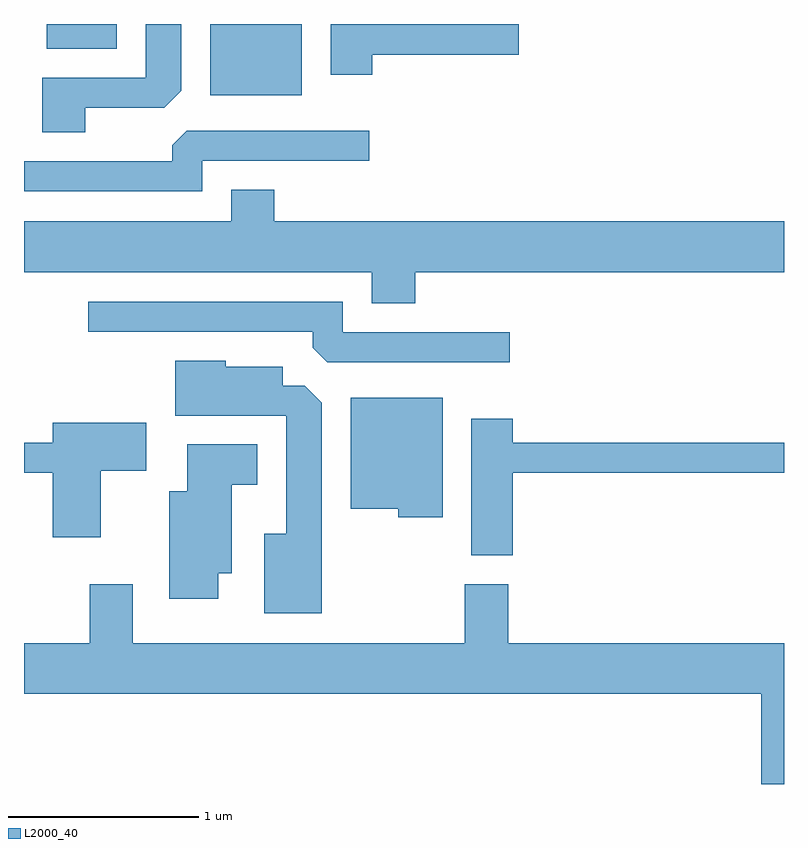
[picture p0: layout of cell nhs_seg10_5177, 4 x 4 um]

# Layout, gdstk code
import gdstk
lib = gdstk.Library(unit=1e-6, precision=1e-09)
def R(c, l, rs):  # rectangles x0, y0, x1, y1
    for r in rs: c.add(gdstk.rectangle(r[:2], r[2:], *l))
def P(c, l, *ps):  # polygons
    for p in ps: c.add(gdstk.Polygon(p, *l))
L2000_40 = (2000, 40)

nhs_seg10_5177 = lib.new_cell('nhs_seg10_5177')
R(nhs_seg10_5177, L2000_40, [(338.591,2148.146,339.074,2148.522), (337.731,2148.391,338.099,2148.522)])
P(nhs_seg10_5177, L2000_40, [(339.444,2148.361),(340.214,2148.361),(340.214,2148.522),(339.226,2148.522),(339.226,2148.256),(339.444,2148.256)],
  [(337.934,2148.081),(338.349,2148.081),(338.439,2148.172),(338.439,2148.522),(338.251,2148.522),(338.251,2148.239),(337.706,2148.239),(337.706,2147.951),(337.934,2147.951)],
  [(338.549,2147.801),(339.428,2147.801),(339.428,2147.959),(338.467,2147.959),(338.391,2147.884),(338.391,2147.799),(337.611,2147.799),(337.611,2147.641),(338.549,2147.641)],
  [(339.669,2147.216),(341.611,2147.216),(341.611,2147.484),(338.929,2147.484),(338.929,2147.649),(338.701,2147.649),(338.701,2147.484),(337.611,2147.484),(337.611,2147.216),(339.441,2147.216),(339.441,2147.051),(339.669,2147.051)],
  [(340.168,2146.899),(339.289,2146.899),(339.289,2147.059),(337.948,2147.059),(337.948,2146.901),(339.131,2146.901),(339.131,2146.817),(339.207,2146.741),(340.168,2146.741)],
  [(339.179,2146.529),(339.089,2146.619),(338.974,2146.619),(338.974,2146.719),(338.674,2146.719),(338.674,2146.749),(338.406,2146.749),(338.406,2146.461),(338.991,2146.461),(338.991,2145.839),(338.876,2145.839),(338.876,2145.421),(339.179,2145.421)],
  [(339.814,2146.554),(339.331,2146.554),(339.331,2145.971),(339.581,2145.971),(339.581,2145.926),(339.814,2145.926)],
  [(340.184,2146.161),(341.611,2146.161),(341.611,2146.319),(340.184,2146.319),(340.184,2146.444),(339.966,2146.444),(339.966,2145.726),(340.184,2145.726)],
  [(338.014,2146.171),(338.254,2146.171),(338.254,2146.424),(337.761,2146.424),(337.761,2146.319),(337.611,2146.319),(337.611,2146.161),(337.761,2146.161),(337.761,2145.821),(338.014,2145.821)],
  [(338.634,2145.631),(338.704,2145.631),(338.704,2146.096),(338.839,2146.096),(338.839,2146.309),(338.471,2146.309),(338.471,2146.064),(338.376,2146.064),(338.376,2145.496),(338.634,2145.496)],
  [(341.611,2145.264),(340.159,2145.264),(340.159,2145.574),(339.931,2145.574),(339.931,2145.264),(338.184,2145.264),(338.184,2145.574),(337.956,2145.574),(337.956,2145.264),(337.611,2145.264),(337.611,2144.996),(341.491,2144.996),(341.491,2144.522),(341.611,2144.522)])

lib.write_gds('nhs_seg10_5177.gds')
